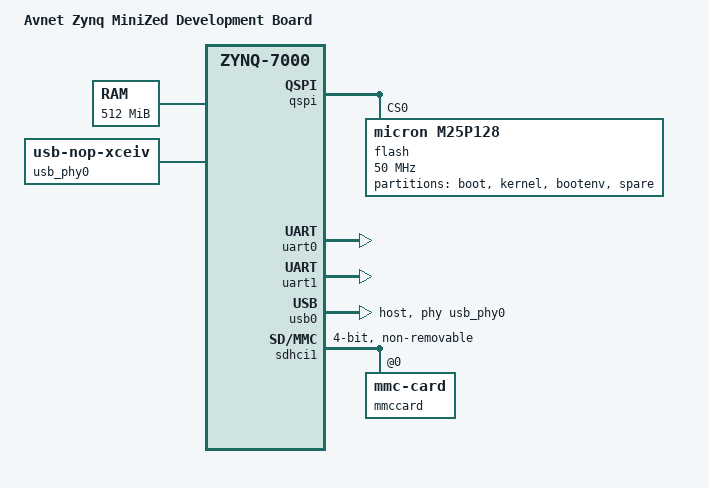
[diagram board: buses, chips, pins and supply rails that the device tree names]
// SPDX-License-Identifier: GPL-2.0+
/*
 * dts file for Avnet MiniZed board
 *
 * (C) Copyright 2017 - 2018, Xilinx, Inc.
 *
 * Ibai Erkiaga <ibai.erkiaga-elorza@xilinx.com>
 */

/dts-v1/;
#include "zynq-7000.dtsi"

/ {
	model = "Avnet Zynq MiniZed Development Board";
	compatible = "avnet,minized", "xlnx,zynq-7000";

	aliases {
		serial0 = &uart1;
		serial1 = &uart0;
		spi0 = &qspi;
		mmc0 = &sdhci0;
	};

	memory@0 {
		device_type = "memory";
		reg = <0x0 0x20000000>;
	};

	chosen {
		bootargs = "";
		stdout-path = "serial0:115200n8";
	};

	usb_phy0: phy0 {
		compatible = "usb-nop-xceiv";
		#phy-cells = <0>;
	};
};

&qspi {
	status = "okay";
	is-dual = <0>;
	num-cs = <1>;
	flash@0 {
		compatible = "micron,m25p128";
		reg = <0x0>;
		spi-tx-bus-width = <4>;
		spi-rx-bus-width = <4>;
		spi-max-frequency = <50000000>;
		partitions {
			compatible = "fixed-partitions";
			#address-cells = <1>;
			#size-cells = <1>;
			partition@0 {
				label = "boot";
				reg = <0x0 0xff0000>;
			};

			partition@270000 {
				label = "kernel";
				reg = <0x270000 0xd80000>;
			};

			partition@ff0000 {
				label = "bootenv";
				reg = <0xff0000 0x10000>;
			};

			partition@1000000 {
				label = "spare";
				reg = <0x1000000 0x0>;
			};
		};
	};
};

&uart0 {
	status = "okay";
};

&uart1 {
	u-boot,dm-pre-reloc;
	status = "okay";
};

&usb0 {
	status = "okay";
	dr_mode = "host";
	usb-phy = <&usb_phy0>;
	usb-reset = <&gpio0 7 0>; /* USB_RST_N-MIO7 */
};

&sdhci1 {
	status = "okay";
	non-removable;
	bus-width = <4>;
	max-frequency = <12000000>;

	#address-cells = <1>;
	#size-cells = <0>;
	mmccard: mmccard@0 {
		compatible = "mmc-card";
		reg = <0>;
		broken-hpi;
	};
};
